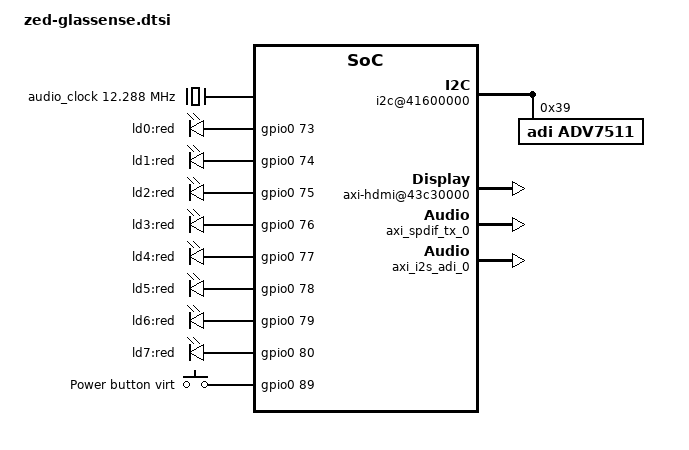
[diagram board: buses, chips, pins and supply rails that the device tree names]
&amba {
	i2c@41600000 {
		compatible = "xlnx,axi-iic-1.01.b", "xlnx,xps-iic-2.00.a";
		interrupt-parent = <&intc>;
		interrupts = <0x0 31 0x4>;
		reg = <0x41600000 0x10000>;
		#size-cells = <0x0>;
		#address-cells = <0x1>;

		adv7511: adv7511@39 {
			compatible = "adi,adv7511";
			reg = <0x39>;
			adi,input-style = <0x2>;
			adi,input-depth = <0x8>;
			adi,input-colorspace = "yuv422";
			adi,input-justification = "right";
			adi,up-conversion = <0x0>;
			adi,clock-delay = <0x3>;
			adi,input-clock = "1x";
		};

	};

	axivdma: axivdma@43000000 {
		compatible = "xlnx,axi-vdma-1.00.a";
		#address-cells = <0x1>;
		#size-cells = <0x1>;
		#dma-cells = <0x1>;
		#dma-channels = <0x1>;
		reg = <0x43000000 0x10000>;
		xlnx,num-fstores = <0x3>;
		interrupt-parent = <&intc>;

		dma-channel@43000000 {
			compatible = "xlnx,axi-vdma-mm2s-channel";
			interrupts = <0x0 30 0x4>;
			xlnx,datawidth = <0x40>;
			xlnx,genlock-mode = <0x0>;
			xlnx,include-dre = <0x0>;
		};
	};

	hdmi_clock: axi-clkgen@43c40000{
		compatible = "adi,axi-clkgen-2.00.a";
		reg = <0x43c40000 0x10000>;
		#clock-cells = <0x0>;
		clocks = <&clkc 0x10>;
	};

	axi-hdmi@43c30000 {
		compatible = "adi,axi-hdmi-tx-1.00.a";
		reg = <0x43c30000 0x10000>;
		encoder-slave = <&adv7511>;
		dmas = <&axivdma 0x0>;
		dma-names = "video";
		clocks = <&hdmi_clock>;
	};
    axi_spdif_tx_0: axi_spdif_tx@60000000 {
        compatible = "adi,axi-spdif-tx-1.00.a";
        reg = <0x60000000 0x10000>;
        dmas = <&dmac_s 2>;
        dma-names = "tx";
        clocks = <&clkc 15>, <&audio_clock>, <&audio_clock>;
        clock-names = "axi", "ref", "spdif";
    };

    // For Audio Glassense
    axi_i2s_adi_0: axi_i2s_adi@43c20000 {
        compatible = "adi,axi-i2s-1.00.a";
        reg = <0x43c20000 0x10000>;
        dmas = <&dmac_s 0 &dmac_s 1>;
        dma-names = "tx", "rx";
        clocks = <&clkc 15>, <&audio_clock>; /*, <&audio_clock>; */
        clock-names = "axi", "ref"; /*, "i2s"; */
		};
        
    audio_clock: audio_clock {
        compatible = "fixed-clock";
        #clock-cells = <0>;
        clock-frequency = <12288000>;
    };
           
    glassense_aux_sound {
        compatible = "iit,glassense"; 
        cpu-dai = <&axi_i2s_adi_0>;
	};
    
    // Glassense Beamforming
    fir_top_0: fir_top@43c00000 {
        compatible = "iit,glbform-1.0";
        interrupts = <0 29 4>;
        interrupt-parent = <&intc>;
        reg = <0x43c00000 0x10000>;
        iit.it,burstlen = <0x2>;
        iit.it,nummics = <0x4>;
        //   the following are related to miscellaneous
        iit_enable = <0x43c10000>;
        iit_ordnum = <0x0>;
		};
    miscellaneus_0: miscellaneus@43c10000 {
        compatible = "iit.it,miscellaneus-1.1";
        reg = <0x43c10000 0x10000>;
		};
	leds {
		compatible = "gpio-leds";
		ld0 {
			label = "ld0:red";
			gpios = <&gpio0 73 0>;
            default-state = "on";
            linux,default-trigger = "cpu0";

		};

		ld1 {
			label = "ld1:red";
			gpios = <&gpio0 74 0>;
            default-state = "on";
            linux,default-trigger = "cpu1";
		};

		ld2 {
			label = "ld2:red";
			gpios = <&gpio0 75 0>;
            default-state = "off";
		};

		ld3 {
			label = "ld3:red";
			gpios = <&gpio0 76 0>;
            default-state = "on";
            linux,default-trigger = "mmc0";
		};

		ld4 {
			label = "ld4:red";
			gpios = <&gpio0 77 0>;
            default-state = "off";
		};

		ld5 {
			label = "ld5:red";
			gpios = <&gpio0 78 0>;
            default-state = "off";
		};

		ld6 {
			label = "ld6:red";
			gpios = <&gpio0 79 0>;
            default-state = "off";
		};

		ld7 {
			label = "ld7:red";
			gpios = <&gpio0 80 0>;
            default-state = "on";
            linux,default-trigger = "heartbeat";
		};
	};
	gpio_keys {
		compatible = "gpio-keys";
		#address-cells = <0x1>;
		#size-cells = <0x0>;

		button_at_1 {
			label = "Power button virt";
			linux,code = <0x74>;
			linux,input-type = <0x1>;
			gpios = <&gpio0 89 0>;
		};
	};
};
